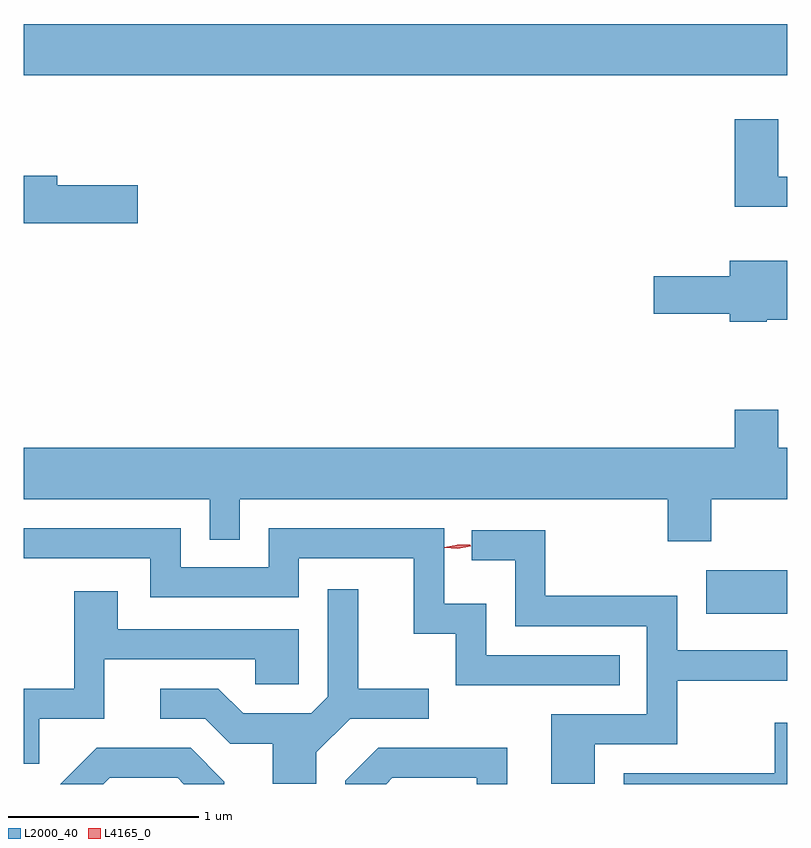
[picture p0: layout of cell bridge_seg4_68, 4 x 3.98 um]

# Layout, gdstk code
import gdstk
lib = gdstk.Library(unit=1e-6, precision=1e-09)
def R(c, l, rs):  # rectangles x0, y0, x1, y1
    for r in rs: c.add(gdstk.rectangle(r[:2], r[2:], *l))
def P(c, l, *ps):  # polygons
    for p in ps: c.add(gdstk.Polygon(p, *l))
L2000_40 = (2000, 40)
L4165_0 = (4165, 0)

bridge_seg4_68 = lib.new_cell('bridge_seg4_68')
R(bridge_seg4_68, L2000_40, [(1508.321,1316.336,1508.747,1316.564), (1504.747,1319.156,1508.747,1319.424)])
P(bridge_seg4_68, L2000_40, [(1508.747,1318.624),(1508.699,1318.624),(1508.699,1318.924),(1508.471,1318.924),(1508.471,1318.466),(1508.747,1318.466)],
  [(1505.344,1318.579),(1504.924,1318.579),(1504.924,1318.629),(1504.747,1318.629),(1504.747,1318.381),(1505.344,1318.381)],
  [(1508.64,1317.876),(1508.747,1317.876),(1508.747,1318.184),(1508.446,1318.184),(1508.446,1318.104),(1508.046,1318.104),(1508.046,1317.906),(1508.446,1317.906),(1508.446,1317.866),(1508.64,1317.866)],
  [(1508.349,1316.936),(1508.747,1316.936),(1508.747,1317.204),(1508.699,1317.204),(1508.699,1317.404),(1508.471,1317.404),(1508.471,1317.204),(1504.747,1317.204),(1504.747,1316.936),(1505.721,1316.936),(1505.721,1316.723),(1505.879,1316.723),(1505.879,1316.936),(1508.121,1316.936),(1508.121,1316.716),(1508.349,1316.716)],
  [(1507.868,1316.119),(1507.169,1316.119),(1507.169,1316.389),(1506.949,1316.389),(1506.949,1316.784),(1506.031,1316.784),(1506.031,1316.579),(1505.569,1316.579),(1505.569,1316.784),(1504.747,1316.784),(1504.747,1316.626),(1505.411,1316.626),(1505.411,1316.421),(1506.189,1316.421),(1506.189,1316.626),(1506.791,1316.626),(1506.791,1316.231),(1507.011,1316.231),(1507.011,1315.961),(1507.868,1315.961)],
  [(1507.739,1315.651),(1508.169,1315.651),(1508.169,1315.986),(1508.747,1315.986),(1508.747,1316.144),(1508.169,1316.144),(1508.169,1316.429),(1507.479,1316.429),(1507.479,1316.774),(1507.093,1316.774),(1507.093,1316.616),(1507.321,1316.616),(1507.321,1316.271),(1508.011,1316.271),(1508.011,1315.809),(1507.511,1315.809),(1507.511,1315.446),(1507.739,1315.446)],
  [(1506.279,1315.609),(1506.457,1315.786),(1506.868,1315.786),(1506.868,1315.944),(1506.499,1315.944),(1506.499,1316.463),(1506.341,1316.463),(1506.341,1315.902),(1506.254,1315.814),(1505.897,1315.814),(1505.767,1315.944),(1505.463,1315.944),(1505.463,1315.786),(1505.699,1315.786),(1505.829,1315.656),(1506.051,1315.656),(1506.051,1315.446),(1506.279,1315.446)],
  [(1504.829,1315.786),(1505.169,1315.786),(1505.169,1316.096),(1505.961,1316.096),(1505.961,1315.966),(1506.189,1315.966),(1506.189,1316.254),(1505.239,1316.254),(1505.239,1316.454),(1505.011,1316.454),(1505.011,1315.944),(1504.747,1315.944),(1504.747,1315.551),(1504.829,1315.551)],
  [(1508.747,1315.764),(1508.681,1315.764),(1508.681,1315.499),(1507.891,1315.499),(1507.891,1315.444),(1508.747,1315.444)],
  [(1506.677,1315.476),(1507.121,1315.476),(1507.121,1315.444),(1507.279,1315.444),(1507.279,1315.634),(1506.604,1315.634),(1506.431,1315.462),(1506.431,1315.444),(1506.645,1315.444)],
  [(1505.197,1315.476),(1505.554,1315.476),(1505.586,1315.444),(1505.799,1315.444),(1505.799,1315.457),(1505.622,1315.634),(1505.129,1315.634),(1504.939,1315.444),(1505.165,1315.444)])
P(bridge_seg4_68, L4165_0, [(1507.021,1316.677),(1506.951,1316.682),(1506.951,1316.683),(1506.951,1316.684),(1507.02,1316.697),(1507.089,1316.691),(1507.09,1316.691),(1507.089,1316.69)],
  [(1507.021,1316.678),(1506.954,1316.681),(1506.954,1316.681),(1506.954,1316.682),(1507.019,1316.698),(1507.086,1316.696),(1507.086,1316.696),(1507.086,1316.695)])

lib.write_gds('bridge_seg4_68.gds')
